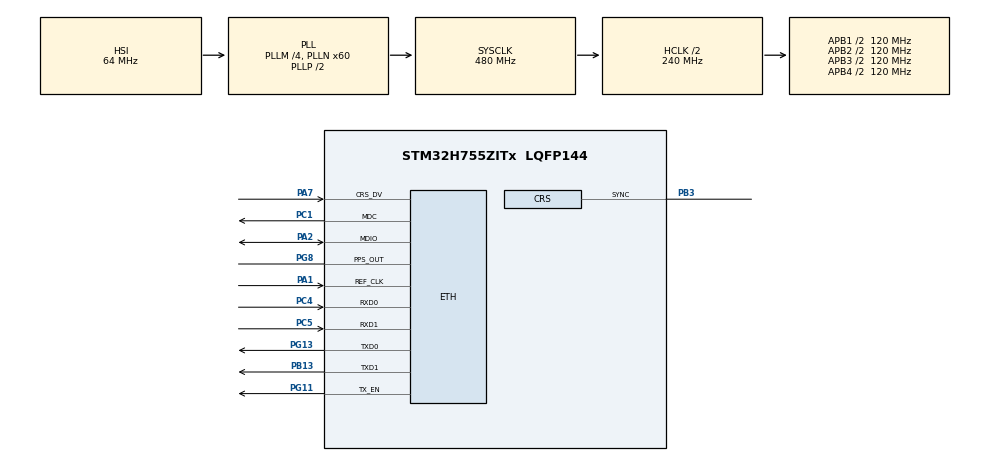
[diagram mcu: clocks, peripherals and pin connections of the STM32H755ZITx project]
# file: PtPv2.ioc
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CortexM4.IPs=FATFS_M4\:I,FREERTOS_M4\:I,IWDG2\:I,RCC,WWDG2\:I,DMA,BDMA,MDMA,NVIC2\:I,DEBUG,PDM2PCM_M4\:I,PWR,RESMGR_UTILITY,SYS_M4\:I,USB_DEVICE_M4\:I,USB_HOST_M4\:I,CORTEX_M4\:I,GPIO,OPENAMP_M4\:I,VREFBUF,NUCLEO-H755ZI-Q
CortexM7.IPs=FATFS_M7\:I,FREERTOS_M7\:I,IWDG1\:I,RCC\:I,WWDG1\:I,DMA\:I,BDMA\:I,MDMA\:I,NVIC1\:I,SYS\:I,CORTEX_M7\:I,DEBUG\:I,PDM2PCM_M7\:I,PWR\:I,RESMGR_UTILITY\:I,USB_DEVICE_M7\:I,USB_HOST_M7\:I,GPIO\:I,OPENAMP_M7\:I,VREFBUF\:I,NUCLEO-H755ZI-Q\:I,TIM2\:I,ETH\:I
ETH.MediaInterface=HAL_ETH_RMII_MODE
Mcu.Family=STM32H7
Mcu.Name=STM32H755ZITx
Mcu.Package=LQFP144
NVIC1.PriorityGroup=NVIC_PRIORITYGROUP_4
NVIC2.PriorityGroup=NVIC_PRIORITYGROUP_4
PA1.Mode=RMII_PTP_Synchro
PA1.PinAttribute=CortexM7
PA1.Signal=ETH_REF_CLK
PA13\ (JTMS/SWDIO).Mode=Serial_Wire
PA13\ (JTMS/SWDIO).PinAttribute=CortexM7
PA13\ (JTMS/SWDIO).Signal=DEBUG_JTMS-SWDIO
PA14\ (JTCK/SWCLK).Mode=Serial_Wire
PA14\ (JTCK/SWCLK).PinAttribute=CortexM7
PA14\ (JTCK/SWCLK).Signal=DEBUG_JTCK-SWCLK
PA2.Mode=RMII_PTP_Synchro
PA2.PinAttribute=CortexM7
PA2.Signal=ETH_MDIO
PA7.Mode=RMII_PTP_Synchro
PA7.PinAttribute=CortexM7
PA7.Signal=ETH_CRS_DV
PB13.Mode=RMII_PTP_Synchro
PB13.PinAttribute=CortexM7
PB13.Signal=ETH_TXD1
PB3\ (JTDO/TRACESWO).Mode=CRS SYNC Source GPIO
PB3\ (JTDO/TRACESWO).PinAttribute=Free
PB3\ (JTDO/TRACESWO).Signal=CRS_SYNC
PC1.Mode=RMII_PTP_Synchro
PC1.PinAttribute=CortexM7
PC1.Signal=ETH_MDC
PC14-OSC32_IN\ (OSC32_IN).PinAttribute=Free
PC14-OSC32_IN\ (OSC32_IN).Signal=RCC_OSC32_IN
PC15-OSC32_OUT\ (OSC32_OUT).PinAttribute=Free
PC15-OSC32_OUT\ (OSC32_OUT).Signal=RCC_OSC32_OUT
PC4.Mode=RMII_PTP_Synchro
PC4.PinAttribute=CortexM7
PC4.Signal=ETH_RXD0
PC5.Mode=RMII_PTP_Synchro
PC5.PinAttribute=CortexM7
PC5.Signal=ETH_RXD1
PG11.Mode=RMII_PTP_Synchro
PG11.PinAttribute=CortexM7
PG11.Signal=ETH_TX_EN
PG13.Mode=RMII_PTP_Synchro
PG13.PinAttribute=CortexM7
PG13.Signal=ETH_TXD0
PG8.Mode=RMII_PTP_Synchro
PG8.PinAttribute=CortexM7
PG8.Signal=ETH_PPS_OUT
PH0-OSC_IN\ (PH0).Mode=HSE-External-Oscillator
PH0-OSC_IN\ (PH0).PinAttribute=Free
PH0-OSC_IN\ (PH0).Signal=RCC_OSC_IN
PH1-OSC_OUT\ (PH1).Mode=HSE-External-Oscillator
PH1-OSC_OUT\ (PH1).PinAttribute=Free
PH1-OSC_OUT\ (PH1).Signal=RCC_OSC_OUT
ProjectManager.HeapSize=M4-0x200,M7-0x200
ProjectManager.StackSize=M4-0x400,M7-0x400
ProjectManager.TargetToolchain=STM32CubeIDE
RCC.ADCFreq_Value=129000000
RCC.APB1Freq_Value=120000000
RCC.APB2Freq_Value=120000000
RCC.APB3Freq_Value=120000000
RCC.APB4Freq_Value=120000000
RCC.CortexFreq_Value=480000000
RCC.D1PPRE=RCC_APB3_DIV2
RCC.D2PPRE1=RCC_APB1_DIV2
RCC.D2PPRE2=RCC_APB2_DIV2
RCC.D3PPRE=RCC_APB4_DIV2
RCC.DIVM1=4
RCC.DIVN1=60
RCC.DIVQ1=5
RCC.HCLKFreq_Value=240000000
RCC.HPRE=RCC_HCLK_DIV2
RCC.PLL2FRACN=0
RCC.PLL3FRACN=0
RCC.PLLFRACN=0
RCC.SYSCLKFreq_VALUE=480000000
RCC.SYSCLKSource=RCC_SYSCLKSOURCE_PLLCLK
RCC.SupplySource=PWR_EXTERNAL_SOURCE_SUPPLY
RCC.USBFreq_Value=192000000
VP_NUCLEO-H755ZI-Q_VS_BSP_COMMON.Mode=COMMON
VP_SYS_M4_VS_Systick.Mode=SysTick
VP_TIM2_VS_ClockSourceINT.Mode=Internal
VP_TIM2_VS_ClockSourceITR.Mode=TriggerSource_ITR4
VP_TIM2_VS_ControllerModeTrigger.Mode=Trigger Mode
board=NUCLEO-H755ZI-Q

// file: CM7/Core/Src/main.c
/* USER CODE BEGIN Header */
/**
  ******************************************************************************
  * @file           : main.c
  * @brief          : Main program body
  ******************************************************************************
  * @attention
  *
  * Copyright (c) 2024 STMicroelectronics.
  * All rights reserved.
  *
  * This software is licensed under terms that can be found in the LICENSE file
  * in the root directory of this software component.
  * If no LICENSE file comes with this software, it is provided AS-IS.
  *
  ******************************************************************************
  */
/* USER CODE END Header */
#include "main.h"
#include "string.h"

/* USER CODE BEGIN Includes */
#include <stdio.h>
#include "stm32h7xx_hal.h"
#include "stm32h7xx_hal_eth.h"
/* USER CODE END Includes */

/* USER CODE BEGIN PD */
#define PTP_ETHType 0x88F7
#define PTP_CLOCK_FREQ 50000000
#define RX_BUFFER_SIZE 1524

#ifndef HSEM_ID_0
#define HSEM_ID_0 (0U) /* HW semaphore 0*/
#endif

/* USER CODE END PD */

#if defined ( __ICCARM__ ) /*!< IAR Compiler */
#pragma location=0x30000000
ETH_DMADescTypeDef  DMARxDscrTab[ETH_RX_DESC_CNT]; /* Ethernet Rx DMA Descriptors */
#pragma location=0x30000080
ETH_DMADescTypeDef  DMATxDscrTab[ETH_TX_DESC_CNT]; /* Ethernet Tx DMA Descriptors */

#elif defined ( __CC_ARM )  /* MDK ARM Compiler */

__attribute__((at(0x30000000))) ETH_DMADescTypeDef  DMARxDscrTab[ETH_RX_DESC_CNT]; /* Ethernet Rx DMA Descriptors */
__attribute__((at(0x30000080))) ETH_DMADescTypeDef  DMATxDscrTab[ETH_TX_DESC_CNT]; /* Ethernet Tx DMA Descriptors */

#elif defined ( __GNUC__ ) /* GNU Compiler */

ETH_DMADescTypeDef DMARxDscrTab[ETH_RX_DESC_CNT] __attribute__((section(".RxDescripSection"))); /* Ethernet Rx DMA Descriptors */
ETH_DMADescTypeDef DMATxDscrTab[ETH_TX_DESC_CNT] __attribute__((section(".TxDescripSection")));   /* Ethernet Tx DMA Descriptors */
#endif

ETH_TxPacketConfig TxConfig;

ETH_HandleTypeDef heth;

TIM_HandleTypeDef htim2;

/* USER CODE BEGIN PV */
uint8_t RxBuffer[ETH_RX_DESC_CNT][RX_BUFFER_SIZE]; // Allocate Rx buffers

/* USER CODE END PV */

void SystemClock_Config(void);
static void MX_GPIO_Init(void);
static void MX_TIM2_Init(void);
static void MX_ETH_Init(void);
/* USER CODE BEGIN PFP */
static void InitETH_PTP(void);
void HandleSyncMessage(uint8_t *packetBuffer);
void HandleFollowUpMessage(uint8_t *packetBuffer);
void HandleDelayReqMessage(uint8_t *packetBuffer);
void HandleDelayRespMessage(uint8_t *packetBuffer);
void HAL_ETH_BuildRxDescriptors(ETH_HandleTypeDef *);
static void AdjustLocalClock(uint32_t seconds, uint32_t nanoseconds);
void ConfigurePTPMACFilter(ETH_HandleTypeDef *heth);
/* USER CODE END PFP */

int main(void)
{

/* USER CODE BEGIN Boot_Mode_Sequence_0 */
  int32_t timeout;
/* USER CODE END Boot_Mode_Sequence_0 */

/* USER CODE BEGIN Boot_Mode_Sequence_1 */
  /* Wait until CPU2 boots and enters in stop mode or timeout*/
  timeout = 0xFFFF;
  while((__HAL_RCC_GET_FLAG(RCC_FLAG_D2CKRDY) != RESET) && (timeout-- > 0));
  if ( timeout < 0 )
  {
  Error_Handler();
  }
/* USER CODE END Boot_Mode_Sequence_1 */
  /* MCU Configuration--------------------------------------------------------*/

  /* Reset of all peripherals, Initializes the Flash interface and the Systick. */
  HAL_Init();

  /* Configure the system clock */
  SystemClock_Config();
/* USER CODE BEGIN Boot_Mode_Sequence_2 */
/* When system initialization is finished, Cortex-M7 will release Cortex-M4 by means of
HSEM notification */
/*HW semaphore Clock enable*/
__HAL_RCC_HSEM_CLK_ENABLE();
/*Take HSEM */
HAL_HSEM_FastTake(HSEM_ID_0);
/*Release HSEM in order to notify the CPU2(CM4)*/
HAL_HSEM_Release(HSEM_ID_0,0);
/* wait until CPU2 wakes up from stop mode */
timeout = 0xFFFF;
while((__HAL_RCC_GET_FLAG(RCC_FLAG_D2CKRDY) == RESET) && (timeout-- > 0));
if ( timeout < 0 )
{
Error_Handler();
}
/* USER CODE END Boot_Mode_Sequence_2 */

  /* Initialize all configured peripherals */
  MX_GPIO_Init();
  MX_TIM2_Init();
  MX_ETH_Init();
  /* USER CODE BEGIN 2 */
  InitETH_PTP();

  HAL_ETH_Start_IT(&heth);

  /* USER CODE END 2 */

  /* Infinite loop */
  while (1)
  {

  }
}

void SystemClock_Config(void)
{
  RCC_OscInitTypeDef RCC_OscInitStruct = {0};
  RCC_ClkInitTypeDef RCC_ClkInitStruct = {0};
  RCC_CRSInitTypeDef RCC_CRSInitStruct = {0};

  /** Supply configuration update enable
  */
  HAL_PWREx_ConfigSupply(PWR_EXTERNAL_SOURCE_SUPPLY);

  /** Configure the main internal regulator output voltage
  */
  __HAL_PWR_VOLTAGESCALING_CONFIG(PWR_REGULATOR_VOLTAGE_SCALE0);

  while(!__HAL_PWR_GET_FLAG(PWR_FLAG_VOSRDY)) {}

  /** Initializes the RCC Oscillators according to the specified parameters
  * in the RCC_OscInitTypeDef structure.
  */
  RCC_OscInitStruct.OscillatorType = RCC_OSCILLATORTYPE_HSI48|RCC_OSCILLATORTYPE_HSI;
  RCC_OscInitStruct.HSIState = RCC_HSI_DIV1;
  RCC_OscInitStruct.HSICalibrationValue = RCC_HSICALIBRATION_DEFAULT;
  RCC_OscInitStruct.HSI48State = RCC_HSI48_ON;
  RCC_OscInitStruct.PLL.PLLState = RCC_PLL_ON;
  RCC_OscInitStruct.PLL.PLLSource = RCC_PLLSOURCE_HSI;
  RCC_OscInitStruct.PLL.PLLM = 4;
  RCC_OscInitStruct.PLL.PLLN = 60;
  RCC_OscInitStruct.PLL.PLLP = 2;
  RCC_OscInitStruct.PLL.PLLQ = 5;
  RCC_OscInitStruct.PLL.PLLR = 2;
  RCC_OscInitStruct.PLL.PLLRGE = RCC_PLL1VCIRANGE_3;
  RCC_OscInitStruct.PLL.PLLVCOSEL = RCC_PLL1VCOWIDE;
  RCC_OscInitStruct.PLL.PLLFRACN = 0;
  if (HAL_RCC_OscConfig(&RCC_OscInitStruct) != HAL_OK)
  {
    Error_Handler();
  }

  /** Initializes the CPU, AHB and APB buses clocks
  */
  RCC_ClkInitStruct.ClockType = RCC_CLOCKTYPE_HCLK|RCC_CLOCKTYPE_SYSCLK
                              |RCC_CLOCKTYPE_PCLK1|RCC_CLOCKTYPE_PCLK2
                              |RCC_CLOCKTYPE_D3PCLK1|RCC_CLOCKTYPE_D1PCLK1;
  RCC_ClkInitStruct.SYSCLKSource = RCC_SYSCLKSOURCE_PLLCLK;
  RCC_ClkInitStruct.SYSCLKDivider = RCC_SYSCLK_DIV1;
  RCC_ClkInitStruct.AHBCLKDivider = RCC_HCLK_DIV2;
  RCC_ClkInitStruct.APB3CLKDivider = RCC_APB3_DIV2;
  RCC_ClkInitStruct.APB1CLKDivider = RCC_APB1_DIV2;
  RCC_ClkInitStruct.APB2CLKDivider = RCC_APB2_DIV2;
  RCC_ClkInitStruct.APB4CLKDivider = RCC_APB4_DIV2;

  if (HAL_RCC_ClockConfig(&RCC_ClkInitStruct, FLASH_LATENCY_4) != HAL_OK)
  {
    Error_Handler();
  }

  /** Enable the SYSCFG APB clock
  */
  __HAL_RCC_CRS_CLK_ENABLE();

  /** Configures CRS
  */
  RCC_CRSInitStruct.Prescaler = RCC_CRS_SYNC_DIV1;
  RCC_CRSInitStruct.Source = RCC_CRS_SYNC_SOURCE_PIN;
  RCC_CRSInitStruct.Polarity = RCC_CRS_SYNC_POLARITY_RISING;
  RCC_CRSInitStruct.ReloadValue = __HAL_RCC_CRS_RELOADVALUE_CALCULATE(48000000,1);
  RCC_CRSInitStruct.ErrorLimitValue = 34;
  RCC_CRSInitStruct.HSI48CalibrationValue = 32;

  HAL_RCCEx_CRSConfig(&RCC_CRSInitStruct);
}

static void MX_ETH_Init(void)
{

   static uint8_t MACAddr[6];

  heth.Instance = ETH;
  MACAddr[0] = 0x00;
  MACAddr[1] = 0x80;
  MACAddr[2] = 0xE1;
  MACAddr[3] = 0x00;
  MACAddr[4] = 0x00;
  MACAddr[5] = 0x00;
  heth.Init.MACAddr = &MACAddr[0];
  heth.Init.MediaInterface = HAL_ETH_RMII_MODE;
  heth.Init.TxDesc = DMATxDscrTab;
  heth.Init.RxDesc = DMARxDscrTab;
  heth.Init.RxBuffLen = 1524;

  /* USER CODE BEGIN MACADDRESS */
  ConfigurePTPMACFilter(&heth);

  /* USER CODE END MACADDRESS */

  if (HAL_ETH_Init(&heth) != HAL_OK)
  {
    Error_Handler();
  }

  memset(&TxConfig, 0 , sizeof(ETH_TxPacketConfig));
  TxConfig.Attributes = ETH_TX_PACKETS_FEATURES_CSUM | ETH_TX_PACKETS_FEATURES_CRCPAD;
  TxConfig.ChecksumCtrl = ETH_CHECKSUM_IPHDR_PAYLOAD_INSERT_PHDR_CALC;
  TxConfig.CRCPadCtrl = ETH_CRC_PAD_INSERT;

}

static void MX_TIM2_Init(void)
{

  TIM_ClockConfigTypeDef sClockSourceConfig = {0};
  TIM_SlaveConfigTypeDef sSlaveConfig = {0};
  TIM_MasterConfigTypeDef sMasterConfig = {0};

  htim2.Instance = TIM2;
  htim2.Init.Prescaler = 0;
  htim2.Init.CounterMode = TIM_COUNTERMODE_UP;
  htim2.Init.Period = 4294967295;
  htim2.Init.ClockDivision = TIM_CLOCKDIVISION_DIV1;
  htim2.Init.AutoReloadPreload = TIM_AUTORELOAD_PRELOAD_DISABLE;
  if (HAL_TIM_Base_Init(&htim2) != HAL_OK)
  {
    Error_Handler();
  }
  sClockSourceConfig.ClockSource = TIM_CLOCKSOURCE_INTERNAL;
  if (HAL_TIM_ConfigClockSource(&htim2, &sClockSourceConfig) != HAL_OK)
  {
    Error_Handler();
  }
  sSlaveConfig.SlaveMode = TIM_SLAVEMODE_TRIGGER;
  sSlaveConfig.InputTrigger = TIM_TS_ITR4;
  if (HAL_TIM_SlaveConfigSynchro(&htim2, &sSlaveConfig) != HAL_OK)
  {
    Error_Handler();
  }
  sMasterConfig.MasterOutputTrigger = TIM_TRGO_RESET;
  sMasterConfig.MasterSlaveMode = TIM_MASTERSLAVEMODE_DISABLE;
  if (HAL_TIMEx_MasterConfigSynchronization(&htim2, &sMasterConfig) != HAL_OK)
  {
    Error_Handler();
  }

}

static void MX_GPIO_Init(void)
{

  /* GPIO Ports Clock Enable */
  __HAL_RCC_GPIOC_CLK_ENABLE();
  __HAL_RCC_GPIOA_CLK_ENABLE();
  __HAL_RCC_GPIOB_CLK_ENABLE();
  __HAL_RCC_GPIOG_CLK_ENABLE();

}

/* USER CODE BEGIN 4 */

static void InitETH_PTP(void) {
	ETH_PTP_ConfigTypeDef ptpConfig;

	ptpConfig.Timestamp = ENABLE;
	ptpConfig.TimestampUpdate = ENABLE;
	ptpConfig.TimestampAddendUpdate = ENABLE;
	ptpConfig.TimestampAll = ENABLE;
	ptpConfig.TimestampEthernet = ENABLE;
	ptpConfig.TimestampSnapshots = ENABLE;
	ptpConfig.TimestampFilter = 0x00000300; // Timestamp all PTP packets
	ptpConfig.TimestampSubsecondInc = (uint32_t)(1e9 / PTP_CLOCK_FREQ); // Adjust for your clock
	ptpConfig.TimestampAddend = 0x80000000; // Default addend

	if (HAL_ETH_PTP_SetConfig(&heth, &ptpConfig) != HAL_OK) {
		printf("PTP Configuration failed\n");
		Error_Handler();
	} else {
		printf("PTP Configuration succeeded\n");
	}
}

void HAL_ETH_BuildRxDescriptors(ETH_HandleTypeDef *heth) {
    for (uint32_t i = 0; i < ETH_RX_DESC_CNT; i++) {
        // Clear existing descriptor fields
        DMARxDscrTab[i].DESC0 = 0;
        // Set the buffer address
        DMARxDscrTab[i].BackupAddr0  = (uint32_t)RxBuffer[i];
        // Enable OWN bit for DMA ownership
        DMARxDscrTab[i].DESC0 |= ETH_DMARXNDESCWBF_OWN;
    }
}

void HAL_ETH_RxCpltCallback(ETH_HandleTypeDef *heth) {
    uint8_t *packetBuffer;
    uint16_t ethertype;
    uint8_t ptpMessageType;

    // Read the received packet
    HAL_ETH_ReadData(heth, (void **)&packetBuffer);

    // Extract the EtherType (bytes 12-13 of the Ethernet frame)
    ethertype = (packetBuffer[12] << 8) | packetBuffer[13];

    if (ethertype == PTP_ETHType) // PTP EtherType
    {
        // Extract the PTP message type (byte 0 of the PTP payload)
        ptpMessageType = packetBuffer[14] & 0x0F;

        // Handle different PTP message types
        switch (ptpMessageType)
        {
        case 0x00: // Sync Message
            HandleSyncMessage(packetBuffer);
            break;
        case 0x01: // Delay_Req Message
            HandleDelayReqMessage(packetBuffer);
            break;
        case 0x02: // Follow_Up Message
            HandleFollowUpMessage(packetBuffer);
            break;
        case 0x03: // Delay_Resp Message
            HandleDelayRespMessage(packetBuffer);
            break;
        default:
            printf("Unknown PTP message type: %d\n", ptpMessageType);
            break;
        }
    }
    // Re-enable the DMA descriptor for the next packet
    HAL_ETH_BuildRxDescriptors(heth);
}

void HandleSyncMessage(uint8_t *packetBuffer)
{
    printf("Received Sync message.\n");

    // Extract the OriginTimestamp (bytes 34–41)
    uint32_t seconds = (packetBuffer[34] << 24) |
                       (packetBuffer[35] << 16) |
                       (packetBuffer[36] << 8)  |
                       (packetBuffer[37]);

    uint32_t nanoseconds = (packetBuffer[38] << 24) |
                           (packetBuffer[39] << 16) |
                           (packetBuffer[40] << 8)  |
                           (packetBuffer[41]);

    printf("Sync OriginTimestamp: %lu seconds, %lu nanoseconds\n", seconds, nanoseconds);

    // Use the extracted timestamp for synchronization or conversion to ToD later
}

void HandleFollowUpMessage(uint8_t *packetBuffer)
{
    printf("Received Follow-Up message.\n");

    // Extract the PreciseOriginTimestamp (bytes 34–41)
    uint32_t seconds = (packetBuffer[34] << 24) |
                       (packetBuffer[35] << 16) |
                       (packetBuffer[36] << 8)  |
                       (packetBuffer[37]);

    uint32_t nanoseconds = (packetBuffer[38] << 24) |
                           (packetBuffer[39] << 16) |
                           (packetBuffer[40] << 8)  |
                           (packetBuffer[41]);

    printf("Follow-Up PreciseOriginTimestamp: %lu seconds, %lu nanoseconds\n", seconds, nanoseconds);

    // Use the extracted timestamp for further processing
}

void HandleDelayReqMessage(uint8_t *packetBuffer)
{
    printf("Received Delay_Req message.\n");

    // Process Delay Request message
}

void HandleDelayRespMessage(uint8_t *packetBuffer)
{
    printf("Received Delay_Resp message.\n");

    // Process Delay Response message
}

static void AdjustLocalClock(uint32_t seconds, uint32_t nanoseconds) {
    __HAL_TIM_SET_COUNTER(&htim2, seconds * 1000000000 + nanoseconds);
    printf("Local clock synchronized: %lu seconds, %lu nanoseconds\n", seconds, nanoseconds);
}

void ConfigurePTPMACFilter(ETH_HandleTypeDef *heth) {
	ETH_MACFilterConfigTypeDef macFilterConfig;
	memset(&macFilterConfig, 0, sizeof(macFilterConfig));
	macFilterConfig.PassAllMulticast = ENABLE;
	if (HAL_ETH_SetMACFilterConfig(heth, &macFilterConfig) != HAL_OK) {
        printf("Failed to configure MAC filters.\n");
        Error_Handler();
    } else {
        printf("MAC filters configured for PTP.\n");
	}
}
/* USER CODE END 4 */

void Error_Handler(void)
{
  __disable_irq();
  while (1)
  {
  }
}
